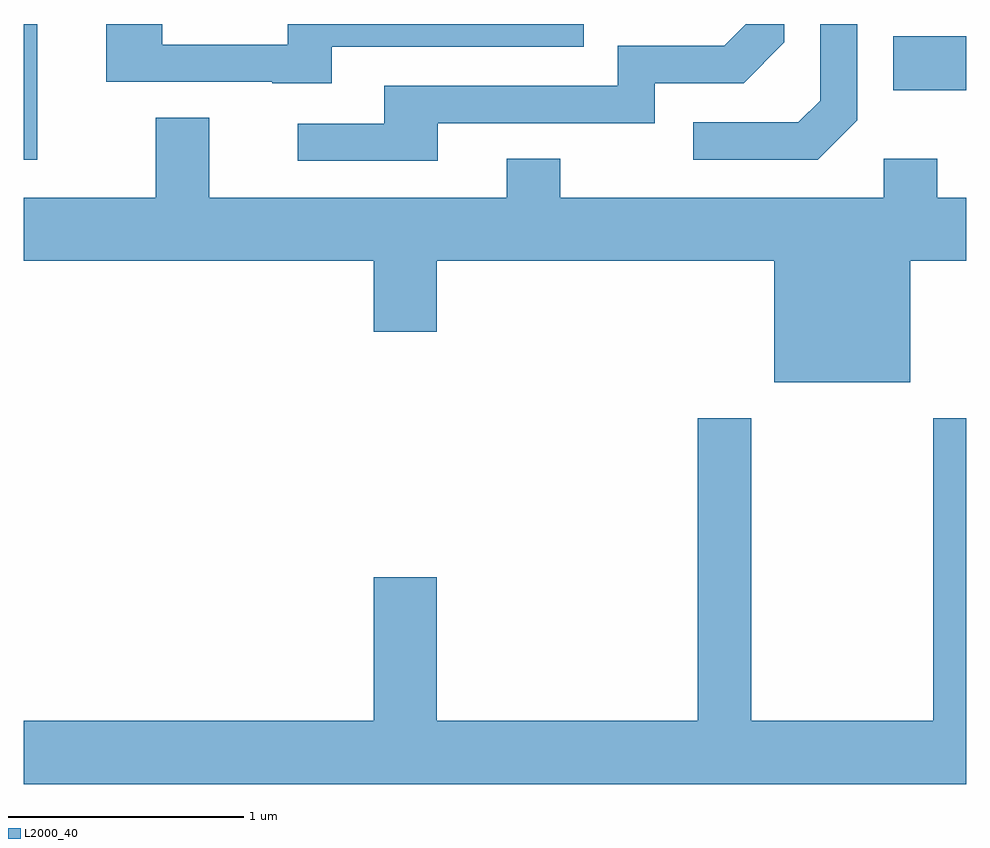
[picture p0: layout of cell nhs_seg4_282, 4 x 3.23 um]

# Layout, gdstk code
import gdstk
lib = gdstk.Library(unit=1e-6, precision=1e-09)
def R(c, l, rs):  # rectangles x0, y0, x1, y1
    for r in rs: c.add(gdstk.rectangle(r[:2], r[2:], *l))
def P(c, l, *ps):  # polygons
    for p in ps: c.add(gdstk.Polygon(p, *l))
L2000_40 = (2000, 40)

nhs_seg4_282 = lib.new_cell('nhs_seg4_282')
R(nhs_seg4_282, L2000_40, [(193.611,1277.406,193.669,1277.982), (197.301,1277.701,197.611,1277.929)])
P(nhs_seg4_282, L2000_40, [(197.149,1277.574),(197.149,1277.982),(196.991,1277.982),(196.991,1277.657),(196.899,1277.564),(196.453,1277.564),(196.453,1277.406),(196.982,1277.406)],
  [(194.919,1277.886),(195.988,1277.886),(195.988,1277.982),(194.731,1277.982),(194.731,1277.894),(194.199,1277.894),(194.199,1277.982),(193.961,1277.982),(193.961,1277.736),(194.665,1277.736),(194.665,1277.731),(194.919,1277.731)],
  [(195.369,1277.561),(196.289,1277.561),(196.289,1277.731),(196.667,1277.731),(196.839,1277.904),(196.839,1277.982),(196.676,1277.982),(196.584,1277.889),(196.131,1277.889),(196.131,1277.719),(195.141,1277.719),(195.141,1277.559),(194.773,1277.559),(194.773,1277.401),(195.369,1277.401)],
  [(197.374,1276.976),(197.611,1276.976),(197.611,1277.244),(197.489,1277.244),(197.489,1277.409),(197.261,1277.409),(197.261,1277.244),(195.889,1277.244),(195.889,1277.409),(195.661,1277.409),(195.661,1277.244),(194.399,1277.244),(194.399,1277.584),(194.171,1277.584),(194.171,1277.244),(193.611,1277.244),(193.611,1276.976),(195.096,1276.976),(195.096,1276.676),(195.364,1276.676),(195.364,1276.976),(196.796,1276.976),(196.796,1276.461),(197.374,1276.461)],
  [(197.611,1276.309),(197.471,1276.309),(197.471,1275.024),(196.699,1275.024),(196.699,1276.309),(196.471,1276.309),(196.471,1275.024),(195.364,1275.024),(195.364,1275.634),(195.096,1275.634),(195.096,1275.024),(193.611,1275.024),(193.611,1274.756),(197.611,1274.756)])

lib.write_gds('nhs_seg4_282.gds')
